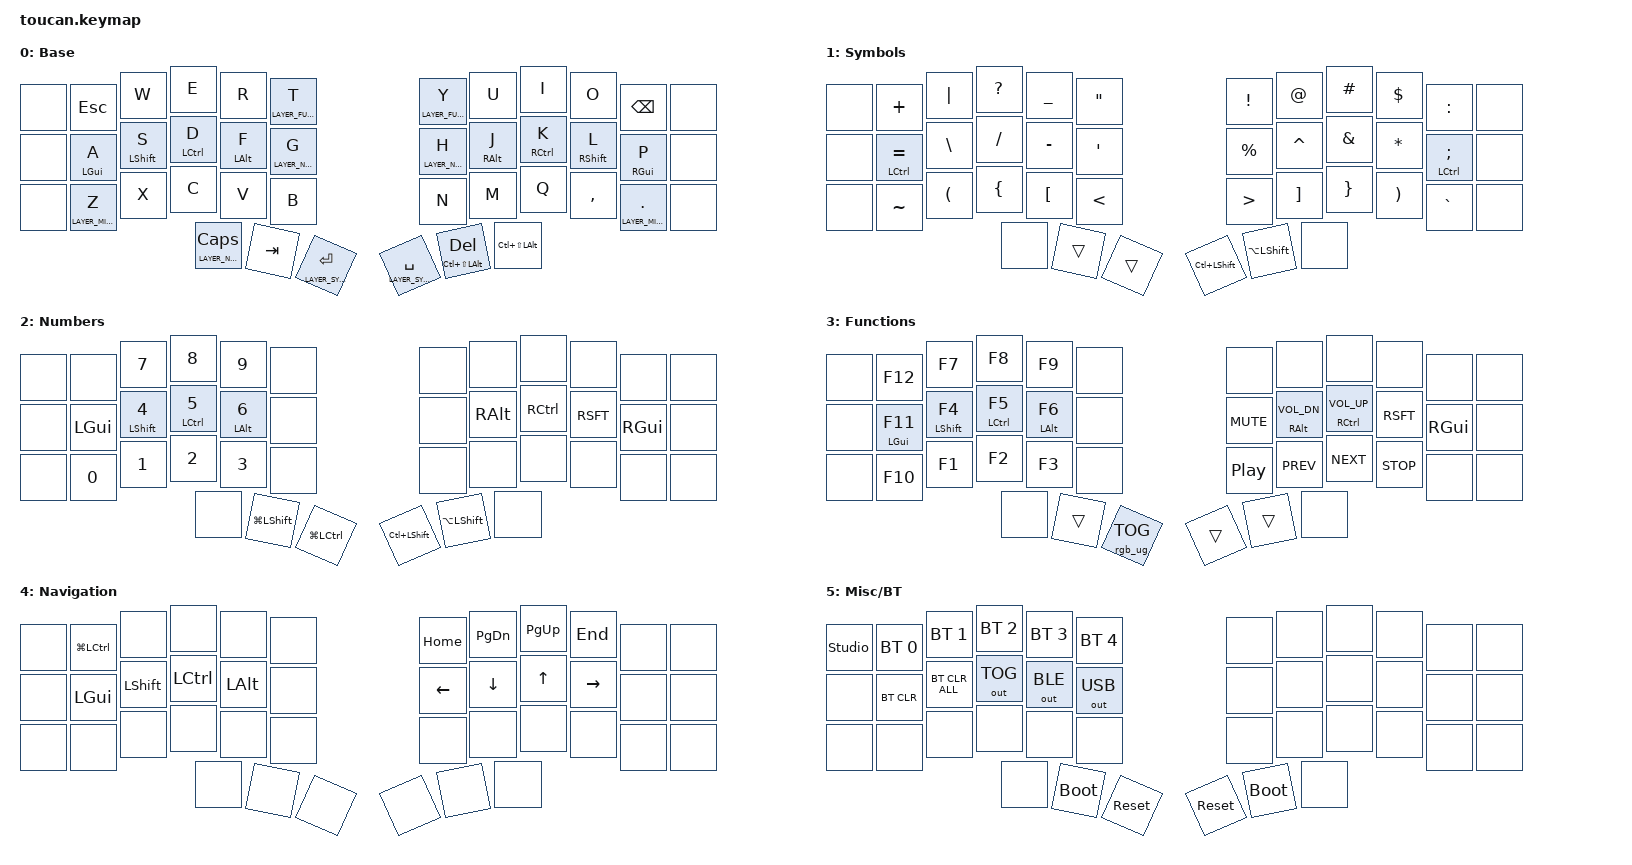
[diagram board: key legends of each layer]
/*
 * Copyright (c) 2020 The ZMK Contributors
 *
 * SPDX-License-Identifier: MIT
 */

#include <behaviors.dtsi>
#include <dt-bindings/zmk/keys.h>
#include <dt-bindings/zmk/bt.h>
#include <dt-bindings/zmk/outputs.h>
#include <dt-bindings/zmk/rgb.h>

#define LAYER_BASE        0
#define LAYER_SYMBOLS     1
#define LAYER_NUMBERS     2
#define LAYER_FUNCTIONS   3
#define LAYER_NAVIGATION  4
#define LAYER_MISC        5

#define MEH_KEY  LC(LS(LALT))
#define HYPR_KEY LC(LS(LA(LGUI)))
#define CTRLSHFT LC(LSHIFT)
#define OSSHFT   LG(LSHIFT)
#define ALTSHFT  LA(LSHIFT)
#define OSCTRL   LG(LCTRL)

/ {
    behaviors {
        hm: homerow_mods {
            compatible = "zmk,behavior-hold-tap";
            label = "HOMEROW_MODS";
            #binding-cells = <2>;
            flavor = "balanced";
            tapping-term-ms = <200>;
            quick-tap-ms = <175>;
            require-prior-idle-ms = <125>;
            bindings = <&kp>, <&kp>;
        };
    };

    keymap {
        compatible = "zmk,keymap";

        base_layer {
            display-name = "Base";
            bindings = <
   &none  &kp ESC     &kp W        &kp E        &kp R        &lt LAYER_FUNCTIONS T       &lt LAYER_FUNCTIONS Y  &kp U        &kp I        &kp O        &kp BSPC           &none
   &none  &hm LGUI A  &hm LSHFT S  &hm LCTRL D  &hm LALT F   &lt LAYER_NUMBERS G         &lt LAYER_NUMBERS H    &hm RALT J   &hm RCTRL K  &hm RSHFT L  &hm RGUI P         &none
   &none  &lt LAYER_MISC Z &kp X   &kp C        &kp V        &kp B                       &kp N                  &kp M        &kp Q        &kp COMMA    &lt LAYER_MISC DOT &none
                                   &lt LAYER_NAVIGATION CAPS &kp TAB &lt LAYER_SYMBOLS RET  &lt LAYER_SYMBOLS SPACE &mt MEH_KEY DEL &kp MEH_KEY
            >;
        };

        symbols_layer {
            display-name = "Symbols";
            bindings = <
   &none  &kp PLUS          &kp PIPE  &kp QMARK &kp UNDER &kp DQT           &kp EXCL        &kp AT    &kp HASH  &kp DLLR   &kp COLON        &none
   &none  &mt LCTRL EQUAL   &kp BSLH  &kp FSLH  &kp MINUS &kp SQT           &kp PRCNT       &kp CARET &kp AMPS  &kp ASTRK  &mt LCTRL SEMI   &none
   &none  &kp TILDE         &kp LPAR  &kp LBRC  &kp LBKT  &kp LT            &kp GT          &kp RBKT  &kp RBRC  &kp RPAR   &kp GRAVE        &none
                                      &none     &trans    &trans            &kp CTRLSHFT    &kp ALTSHFT &none
            >;
        };

        numbers_layer {
            display-name = "Numbers";
            bindings = <
   &none  &none       &kp N7       &kp N8       &kp N9       &none          &none         &none        &none        &none        &none        &none
   &none  &kp LGUI    &hm LSHFT N4 &hm LCTRL N5 &hm LALT N6  &none          &none         &kp RALT     &kp RCTRL    &kp RSFT     &kp RGUI     &none
   &none  &kp N0      &kp N1       &kp N2       &kp N3       &none          &none         &none        &none        &none        &none        &none
                                   &none        &kp OSSHFT   &kp OSCTRL     &kp CTRLSHFT  &kp ALTSHFT  &none
            >;
        };

        functions_layer {
            display-name = "Functions";
            bindings = <
   &none  &kp F12          &kp F7        &kp F8        &kp F9       &none           &none       &none             &none              &none        &none        &none
   &none  &mt LGUI F11     &mt LSHFT F4  &mt LCTRL F5  &mt LALT F6  &none           &kp C_MUTE  &mt RALT C_VOL_DN &mt RCTRL C_VOL_UP &kp RSFT     &kp RGUI     &none
   &none  &kp F10          &kp F1        &kp F2        &kp F3       &none           &kp C_PP    &kp C_PREV        &kp C_NEXT         &kp C_STOP   &none        &none
                                         &none         &trans       &rgb_ug RGB_TOG &trans      &trans            &none
            >;
        };

        navigation_layer {
            display-name = "Navigation";
            bindings = <
   &none  &kp OSCTRL  &none       &none       &none       &none             &kp HOME    &kp PG_DN   &kp PG_UP   &kp END     &none        &none
   &none  &kp LGUI    &kp LSHFT   &kp LCTRL   &kp LALT    &none             &kp LEFT    &kp DOWN    &kp UP      &kp RIGHT   &none        &none
   &none  &none       &none       &none       &none       &none             &none       &none       &none       &none       &none        &none
                                  &none       &none       &none             &none       &none       &none
            >;
        };

        misc_layer {
            display-name = "Misc/BT";
            bindings = <
   &studio_unlock &bt BT_SEL 0  &bt BT_SEL 1    &bt BT_SEL 2  &bt BT_SEL 3 &bt BT_SEL 4    &none        &none        &none       &none       &none        &none
   &none          &bt BT_CLR    &bt BT_CLR_ALL  &out OUT_TOG  &out OUT_BLE &out OUT_USB    &none        &none        &none       &none       &none        &none
   &none          &none         &none           &none         &none        &none           &none        &none        &none       &none       &none        &none
                                               &none         &bootloader  &sys_reset      &sys_reset   &bootloader  &none
            >;
        };

        extra_1 { status = "reserved"; };
        extra_2 { status = "reserved"; };
    };
};
